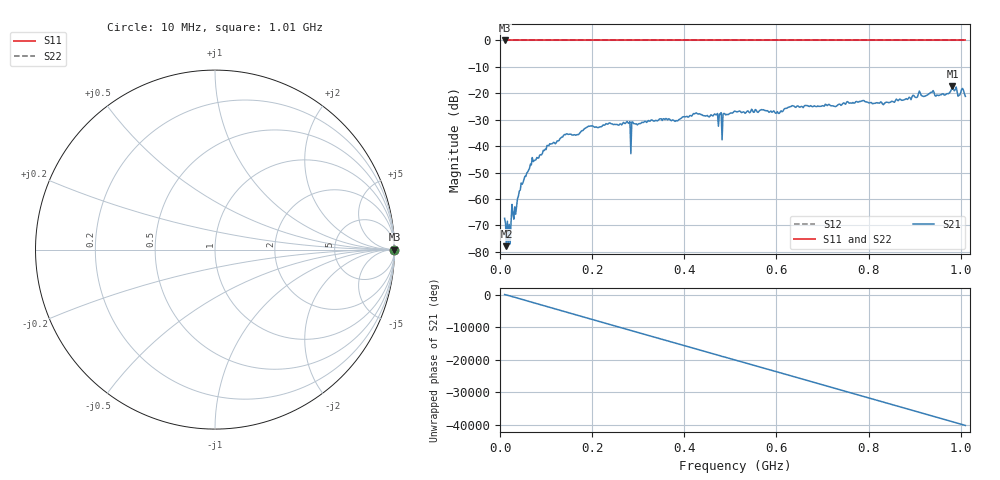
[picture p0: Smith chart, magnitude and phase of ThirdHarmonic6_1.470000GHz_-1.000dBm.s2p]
! 8/16/2025 5:08:11 PM
! C:\ANRITSUVNA\TEMP\TEMP.S2P
! CHANNEL.1
! TR.MEASUREMENT
! RAW.DATA
! RF.CORRECTION.OFF
! AVERAGING.OFF
! IF.BANDWIDTH: 5KHZ
! SWEEPTYPE:  FREQ.SWEEP(Linear)
! Reference Plane Port Info
! PORT:  PORT1  PORT2
! DISTANCE:  0  m  0  m
! TIME:  0  s  0  s
! PHASE.OFFSET:  0  deg.  0  deg.
! LOSS:  0  dB  0  dB
! REF.LOSS:  0  dB  0  dB
! REF.FREQ:  0  Hz  0  Hz
! Power Info
! POWER:  -20  dBm  -20  dBm
! EFF.POWER:  -20  dBm  -20  dBm
! SOURCE.ATTEN:  0  dB  0  dB
! TEST.ATTEN:  0  dB  0  dB
# GHZ S RI R 50.0
! FREQ.GHZ  S11RE  S11IM  S21RE  S21IM  S12RE  S12IM  S22RE  S22IM
!; PortSelection: Port_12
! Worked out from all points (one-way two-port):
!   501 points, 10 MHz to 1.01 GHz, reference 50 ohm
!   highest |S21| = -17.19 dB at 982 MHz (marker M1); lowest = -77.9 dB at 14 MHz (marker M2)
!   lowest |S11| = 0.0 dB at 10 MHz (marker M3)
!   |S11| at or under -10 dB: nowhere
!   |S22| runs from 0.0 to 0.0 dB; largest |S21 - S12| = 1.1
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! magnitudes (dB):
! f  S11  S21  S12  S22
! 10 MHz  0.0  -67.3  0.0  0.0
! 14 MHz  0.0  -77.9  0.0  0.0
! 18 MHz  0.0  -76.4  0.0  0.0
! 28 MHz  0.0  -65.5  0.0  0.0
! 34 MHz  0.0  -65.8  0.0  0.0
! 44 MHz  0.0  -56.6  0.0  0.0
! 70 MHz  0.0  -44.3  0.0  0.0
! 142 MHz  0.0  -35.7  0.0  0.0
! 178 MHz  0.0  -34.1  0.0  0.0
! 278 MHz  0.0  -31.2  0.0  0.0
! 280 MHz  0.0  -31.4  0.0  0.0
! 288 MHz  0.0  -30.8  0.0  0.0
! 290 MHz  0.0  -31.5  0.0  0.0
! 344 MHz  0.0  -30.1  0.0  0.0
! 424 MHz  0.0  -27.6  0.0  0.0
! 468 MHz  0.0  -28.1  0.0  0.0
! 478 MHz  0.0  -27.8  0.0  0.0
! 510 MHz  0.0  -26.7  0.0  0.0
! 678 MHz  0.0  -25.1  0.0  0.0
! 844 MHz  0.0  -23.6  0.0  0.0
! 982 MHz  0.0  -17.2  0.0  0.0
! 1.01 GHz  0.0  -21.2  0.0  0.0
